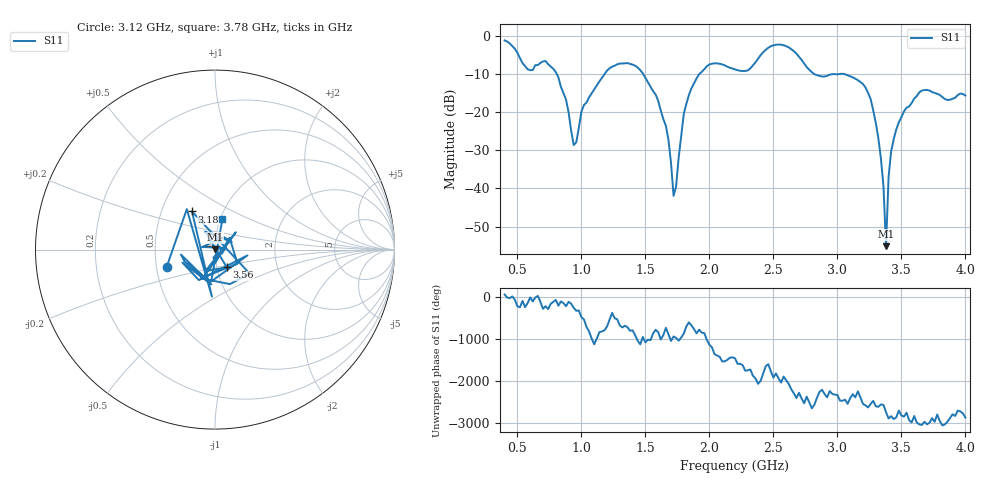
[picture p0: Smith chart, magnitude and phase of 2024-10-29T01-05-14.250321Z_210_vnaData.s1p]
!Created with skrf (http://scikit-rf.org).
# Hz S RI R 50.0
!freq ReS11 ImS11
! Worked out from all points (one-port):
!   181 points, 400 MHz to 4 GHz, reference 50 ohm
!   lowest |S11| = -55.1 dB at 3.38 GHz (marker M1), VSWR 1.00, Z = 49.9 + j0.134 ohm
!   |S11| at or under -10 dB: 807.7 MHz to 1.181 GHz (373.8 MHz wide, 37.6 % of centre); 1.483 GHz to 1.921 GHz (438 MHz wide, 25.7 % of centre); 3.052 GHz to end of sweep (the widest 3 of 4)
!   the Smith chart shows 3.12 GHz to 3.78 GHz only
!   S11 on the Smith chart (normalised r, x): 3.12 GHz: 0.57, -0.12; 3.18 GHz: 0.71, +0.32; 3.56 GHz: 1.12, -0.22; 3.78 GHz: 1.02, +0.36
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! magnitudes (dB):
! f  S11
! 400 MHz  -1.2
! 580 MHz  -8.8
! 720 MHz  -6.6
! 860 MHz  -15.1
! 940 MHz  -28.6
! 1.02 GHz  -18.1
! 1.3 GHz  -7.3
! 1.58 GHz  -15.4
! 1.68 GHz  -27.2
! 1.72 GHz  -41.9
! 1.76 GHz  -31.9
! 1.8 GHz  -20.4
! 1.92 GHz  -10.0
! 2.2 GHz  -8.8
! 2.66 GHz  -4.0
! 2.82 GHz  -10.1
! 3.1 GHz  -10.6
! 3.12 GHz  -10.9
! 3.18 GHz  -12.1
! 3.26 GHz  -16.6
! 3.32 GHz  -26.8
! 3.36 GHz  -39.4
! 3.38 GHz  -55.1
! 3.4 GHz  -36.9
! 3.42 GHz  -30.3
! 3.56 GHz  -18.5
! 3.78 GHz  -15.2
! 4 GHz  -15.6
